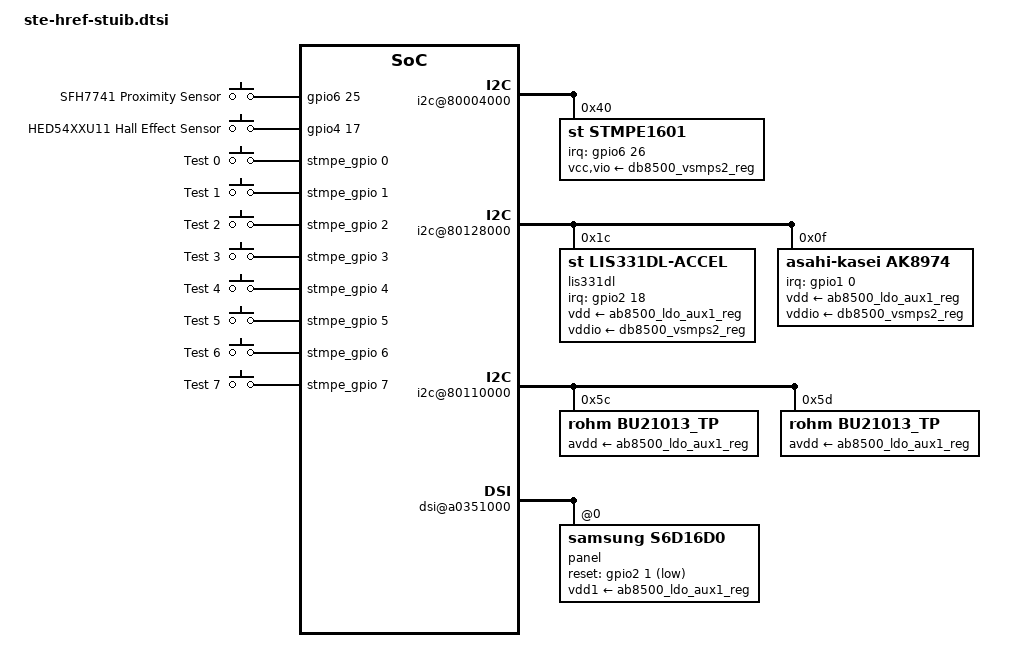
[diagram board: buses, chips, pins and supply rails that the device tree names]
// SPDX-License-Identifier: GPL-2.0-or-later
/*
 * Copyright 2012 ST-Ericsson AB
 */

#include <dt-bindings/interrupt-controller/irq.h>

/ {
	gpio_keys {
		compatible = "gpio-keys";
		#address-cells = <1>;
		#size-cells = <0>;
		vdd-supply = <&ab8500_ldo_aux1_reg>;
		pinctrl-names = "default";
		pinctrl-0 = <&prox_stuib_mode>, <&hall_stuib_mode>;

		button@139 {
			/* Proximity sensor */
			gpios = <&gpio6 25 GPIO_ACTIVE_HIGH>;
			linux,code = <11>; /* SW_FRONT_PROXIMITY */
			label = "SFH7741 Proximity Sensor";
		};
		button@145 {
			/* Hall sensor */
			gpios = <&gpio4 17 GPIO_ACTIVE_HIGH>;
			linux,code = <0>; /* SW_LID */
			label = "HED54XXU11 Hall Effect Sensor";
		};
		button@0 {
			gpios = <&stmpe_gpio 0 0>;
			linux,code = <11>;
			label = "Test 0";
		};
		button@1 {
			gpios = <&stmpe_gpio 1 0>;
			linux,code = <11>;
			label = "Test 1";
		};
		button@2 {
			gpios = <&stmpe_gpio 2 0>;
			linux,code = <11>;
			label = "Test 2";
		};
		button@3 {
			gpios = <&stmpe_gpio 3 0>;
			linux,code = <11>;
			label = "Test 3";
		};
		button@4 {
			gpios = <&stmpe_gpio 4 0>;
			linux,code = <11>;
			label = "Test 4";
		};
		button@5 {
			gpios = <&stmpe_gpio 5 0>;
			linux,code = <11>;
			label = "Test 5";
		};
		button@6 {
			gpios = <&stmpe_gpio 6 0>;
			linux,code = <11>;
			label = "Test 6";
		};
		button@7 {
			gpios = <&stmpe_gpio 7 0>;
			linux,code = <11>;
			label = "Test 7";
		};
	};

	soc {
		i2c@80004000 {
			stmpe1601: stmpe1601@40 {
				compatible = "st,stmpe1601";
				reg = <0x40>;
				interrupts = <26 IRQ_TYPE_EDGE_FALLING>;
				interrupt-parent = <&gpio6>;
				interrupt-controller;
				vcc-supply = <&db8500_vsmps2_reg>;
				vio-supply = <&db8500_vsmps2_reg>;
				pinctrl-names = "default";
				pinctrl-0 = <&stmpe_stuib_mode>;

				wakeup-source;
				st,autosleep-timeout = <1024>;

				stmpe_gpio: stmpe_gpio@1 {
					compatible = "st,stmpe-gpio";
					interrupt-controller;
					#interrupt-cells = <2>;
					gpio-controller;
					#gpio-cells = <2>;
				};
			};
		};

		/* Sensors mounted on this board variant */
		i2c@80128000 {
			lis331dl@1c {
				/* Accelerometer */
				compatible = "st,lis331dl-accel";
				st,drdy-int-pin = <1>;
				reg = <0x1c>;
				vdd-supply = <&ab8500_ldo_aux1_reg>;
				vddio-supply = <&db8500_vsmps2_reg>;
				pinctrl-names = "default";
				pinctrl-0 = <&accel_stuib_mode>;
				interrupt-parent = <&gpio2>;
				interrupts = <18 IRQ_TYPE_EDGE_RISING>,
					     <19 IRQ_TYPE_EDGE_RISING>;
			};
			ak8974@f {
				/* Magnetometer */
				compatible = "asahi-kasei,ak8974";
				reg = <0x0f>;
				vdd-supply = <&ab8500_ldo_aux1_reg>;
				vddio-supply = <&db8500_vsmps2_reg>;
				pinctrl-names = "default";
				pinctrl-0 = <&magneto_stuib_mode>;
				interrupt-parent = <&gpio1>;
				interrupts = <0 IRQ_TYPE_EDGE_RISING>;
			};
		};

		i2c@80110000 {
			bu21013_tp@5c {
				compatible = "rohm,bu21013_tp";
				reg = <0x5c>;
				avdd-supply = <&ab8500_ldo_aux1_reg>;

				rohm,touch-max-x = <384>;
				rohm,touch-max-y = <704>;
				rohm,flip-y;
				pinctrl-names = "default";
				pinctrl-0 = <&touch_rohm_mode>;
			};

			bu21013_tp@5d {
				compatible = "rohm,bu21013_tp";
				reg = <0x5d>;
				avdd-supply = <&ab8500_ldo_aux1_reg>;

				rohm,touch-max-x = <384>;
				rohm,touch-max-y = <704>;
				rohm,flip-y;
				pinctrl-names = "default";
				pinctrl-0 = <&touch_rohm_mode>;
			};
		};

		pinctrl {
			/* Pull up this GPIO pin */
			stmpe {
				stmpe_stuib_mode: stmpe_stuib {
					stuib_cfg {
						ste,pins = "GPIO218_AH11";
						ste,config = <&gpio_in_pu>;
					};
				};
			};
			prox {
				prox_stuib_mode: prox_stuib {
					stuib_cfg {
						pins = "GPIO217_AH12";
						ste,config = <&gpio_in_pu>;
					};
				};
			};
			hall {
				hall_stuib_mode: stuib_tvk {
					stuib_cfg {
						pins = "GPIO145_C13";
						ste,config = <&gpio_in_pu>;
					};
				};
			};
			accelerometer {
				accel_stuib_mode: accel_stuib {
					/* Accelerometer interrupt lines 1 & 2 */
					stuib_cfg {
						pins = "GPIO82_C1", "GPIO83_D3";
						ste,config = <&gpio_in_pu>;
					};
				};
			};
			magnetometer {
				magneto_stuib_mode: magneto_stuib {
					/* Magnetometer uses GPIO 31 and 32, pull these up/down respectively */
					stuib_cfg1 {
						pins = "GPIO31_V3";
						ste,config = <&gpio_in_pu>;
					};
					stuib_cfg2 {
						pins = "GPIO32_V2";
						ste,config = <&gpio_in_pd>;
					};
				};
			};
			touch {
				touch_rohm_mode: touch_rohm {
					/*
					 * ROHM touch screen uses GPIO 143 for
					 * RST1, GPIO 146 for RST2 and
					 * GPIO 67 for interrupts. Pull-up
					 * the IRQ line and drive both
					 * reset signals low.
					 */
					stuib_cfg1 {
						pins = "GPIO143_D12", "GPIO146_D13";
						ste,config = <&gpio_out_lo>;
					};
					stuib_cfg2 {
						pins = "GPIO67_G2";
						ste,config = <&gpio_in_pu>;
					};
				};
			};
		};

		mcde@a0350000 {
			status = "okay";

			dsi@a0351000 {
				panel {
					compatible = "samsung,s6d16d0";
					reg = <0>;
					vdd1-supply = <&ab8500_ldo_aux1_reg>;
					reset-gpios = <&gpio2 1 GPIO_ACTIVE_LOW>;
				};
			};
		};
	};
};
